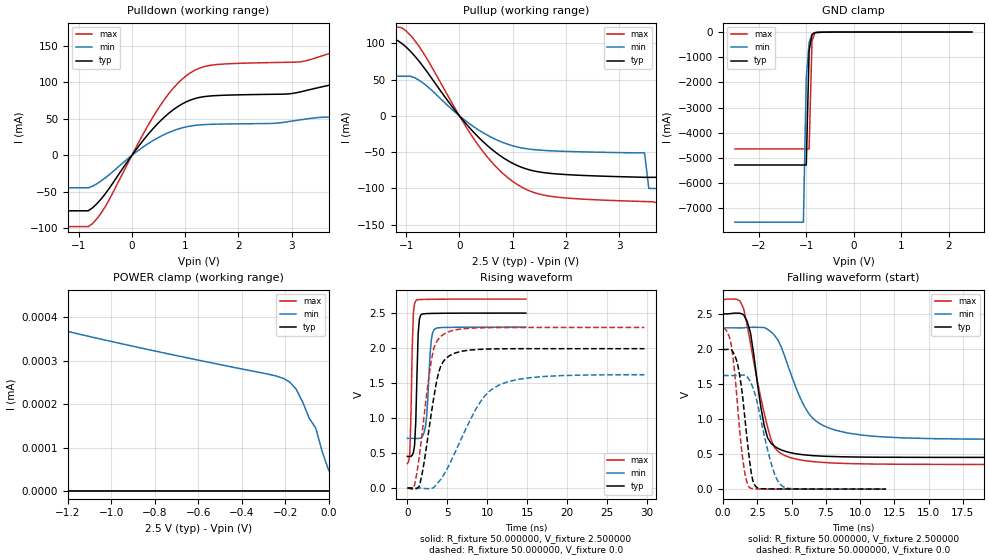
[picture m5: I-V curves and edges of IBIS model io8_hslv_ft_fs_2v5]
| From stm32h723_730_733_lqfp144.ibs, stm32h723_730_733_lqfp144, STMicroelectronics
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|   Model io8_hslv_ft_fs_2v5
[Model]  io8_hslv_ft_fs_2v5
Model_type I/O
Polarity   Non-Inverting
Enable   Active-Low
Vinl =   0.750000V
Vinh =   1.750000V
Vmeas =  1.250000V
Cref =   50.000000pF
Rref =   100.000000M
Vref =   0.0V
C_comp   3.274600pF   3.232100pF   3.359900pF
[Temperature Range]   25.000000   0.140000k   -40.000000
[Pullup Reference]   2.500000V   2.300000V   2.700000V
[Pulldown Reference]   0.0V   0.0V   0.0V
[POWER Clamp Reference]   2.500000V   2.300000V   2.700000V
[GND Clamp Reference]   0.0V   0.0V   0.0V
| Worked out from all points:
|   slope of the pulldown table from 0 to 0.375 V, typ, clamps not added: 10.8 ohm
|   slope of the pullup table from 0 to 0.375 V, typ, clamps not added: 12.2 ohm
|   GND clamp passes 1 mA (typ) near -0.48 V on its own axis
|   POWER clamp passes 1 mA (typ) near -1.63 V on its own axis
|   rising waveform, R_fixture 50.000000, V_fixture 2.500000: 20-80 % time 307ps typ, 478ps min, 284ps max; typ from 0.452 V to 2.5 V
|   rising waveform, R_fixture 50.000000, V_fixture 0.0: 20-80 % time 1.66ns typ, 4.36ns min, 1.51ns max; typ from 0 V to 1.99 V
|   falling waveform, R_fixture 50.000000, V_fixture 2.500000: 20-80 % time 955ps typ, 2.13ns min, 1.48ns max; typ from 2.5 V to 0.452 V
|   falling waveform, R_fixture 50.000000, V_fixture 0.0: 20-80 % time 706ps typ, 1.16ns min, 667ps max; typ from 1.99 V to 0 V
[Pulldown]
|Voltage   I(typ)   I(min)   I(max)
-2.5V     -76.13mA   -44.49mA   -97.78mA
-740mV    -72.06mA   -42.35mA   -93.72mA
-500mV    -52.82mA   -30.92mA   -70.42mA
540mV     47.57mA    26.06mA    69.15mA
860mV     66.79mA    35.88mA    98.68mA
1.18V     77.88mA    41.1mA     116.8mA
1.66V     82.29mA    42.91mA    125mA
3.18V     87.31mA    48.91mA    128.5mA
4.54V     100.4mA    52.34mA    154mA
4.62V     100.4mA    100mA      154mA
4.7V      1A         100mA      1A
5V        1A         100mA      1A
[Pullup]
|Voltage   I(typ)   I(min)   I(max)
-2.5V     106mA      54.5mA     122.3mA
-1.24V    106mA      54.5mA     122.3mA
-1V       94.67mA    54.5mA     116.9mA
-680mV    67.85mA    45.09mA    87mA
440mV     -35.23mA   -23mA      -48.85mA
1.24V     -72.75mA   -45.08mA   -100.8mA
3.48V     -84.7mA    -51mA      -118mA
3.56V     -84.7mA    -100mA     -118.2mA
4.12V     -84.7mA    -100mA     -120mA
4.2V      -1A        -100mA     -120mA
4.28V     -1A        -100mA     -1A
4.92V     -10A       -100mA     -1A
[GND_clamp]
|Voltage   I(typ)   I(min)   I(max)
-2.5V     -5.279A    -7.552A    -4.642A
-1.06V    -5.279A    -7.552A    -4.642A
-1V       -5.279A    -1.817A    -4.642A
-940mV    -735.7mA   -404.3mA   -4.642A
-880mV    -96.28mA   -90.31mA   -359.2mA
-820mV    -21.89mA   -25.86mA   -35.11mA
-760mV    -11.09mA   -11.62mA   -13.1mA
2.48V     0A         -29.27nA   0A
[POWER_clamp]
|Voltage   I(typ)   I(min)   I(max)
-2.49V    6.662A     4.852A     4.793A
-1.44V    533.3nA    628.8nA    138.4uA
-1.41V    168.3nA    492.5nA    31.1uA
-1.38V    54.7nA     431.8nA    6.987uA
-1.35V    19.31nA    403.6nA    1.57uA
-1.32V    8.254nA    389.4nA    353.2nA
-1.29V    0A         381.2nA    79.72nA
-1.26V    0A         375.7nA    18.28nA
-1.23V    0A         371.3nA    0A
-210mV    0A         259.5nA    0A
-60mV     0A         144.9nA    0A
0V        0A         46.85nA    0A
[Ramp]
| variable   typ   min   max
dV/dt_r  1.19490/1.64456n   0.97122/4.34809n   1.37472/1.50716n
dV/dt_f  1.22891/0.92514n   0.95410/2.12237n   1.40988/1.46681n
R_load = 50.000000
[Rising Waveform]
R_fixture= 50.000000
V_fixture= 2.500000
V_fixture_min= 2.300000
V_fixture_max= 2.700000
|time   V(typ)   V(min)   V(max)
0s        451.9mV    709.2mV    350.6mV
300.3ps   450.1mV    709.2mV    481.9mV
750.8ps   505.2mV    709.3mV    2.502V
1.051ns   939.1mV    709mV      2.676V
1.351ns   2.203V     707.6mV    2.692V
1.652ns   2.468V     713.4mV    2.694V
2.252ns   2.492V     868.6mV    2.696V
3.003ns   2.495V     2.114V     2.698V
3.453ns   2.496V     2.275V     2.698V
14.86ns   2.5V       2.3V       2.701V
[Rising Waveform]
R_fixture= 50.000000
V_fixture= 0.0
V_fixture_min= 0.0
V_fixture_max= 0.0
|time   V(typ)   V(min)   V(max)
0s        -6.563uV   541.4nV    -1.532mV
900.9ps   -9.508mV   10.8uV     41.62mV
1.502ns   27.45mV    -185.2uV   452.3mV
3.003ns   1.068V     -8.149mV   1.826V
3.904ns   1.647V     85mV       2.13V
4.505ns   1.809V     176.9mV    2.194V
9.009ns   1.981V     1.206V     2.289V
11.41ns   1.989V     1.467V     2.293V
17.12ns   1.992V     1.594V     2.295V
29.73ns   1.992V     1.62V      2.295V
[Falling Waveform]
R_fixture= 50.000000
V_fixture= 2.500000
V_fixture_min= 2.300000
V_fixture_max= 2.700000
|time   V(typ)   V(min)   V(max)
0s        2.5V       2.3V       2.701V
1.251ns   2.509V     2.299V     2.68V
1.752ns   2.396V     2.306V     2.346V
2.002ns   2.232V     2.308V     2.082V
3.253ns   729.9mV    2.28V      879.6mV
3.754ns   610.2mV    2.195V     592.7mV
4.505ns   540.8mV    1.892V     478.6mV
6.256ns   482.2mV    1.078V     399mV
8.008ns   464.4mV    851.6mV    372.2mV
24.77ns   451.9mV    709.2mV    350.6mV
[Falling Waveform]
R_fixture= 50.000000
V_fixture= 0.0
V_fixture_min= 0.0
V_fixture_max= 0.0
|time   V(typ)   V(min)   V(max)
0s        1.992V     1.62V      2.295V
600.6ps   1.989V     1.62V      2.06V
1.081ns   1.764V     1.62V      1.141V
1.562ns   1.073V     1.626V     260mV
1.922ns   427.9mV    1.557V     22.62mV
2.162ns   128.6mV    1.456V     5.056mV
2.402ns   32.36mV    1.308V     2.345mV
3.604ns   2.116mV    306.6mV    -88.89uV
4.324ns   1.401mV    42.22mV    -507.1uV
11.89ns   -6.563uV   541.4nV    -1.532mV
